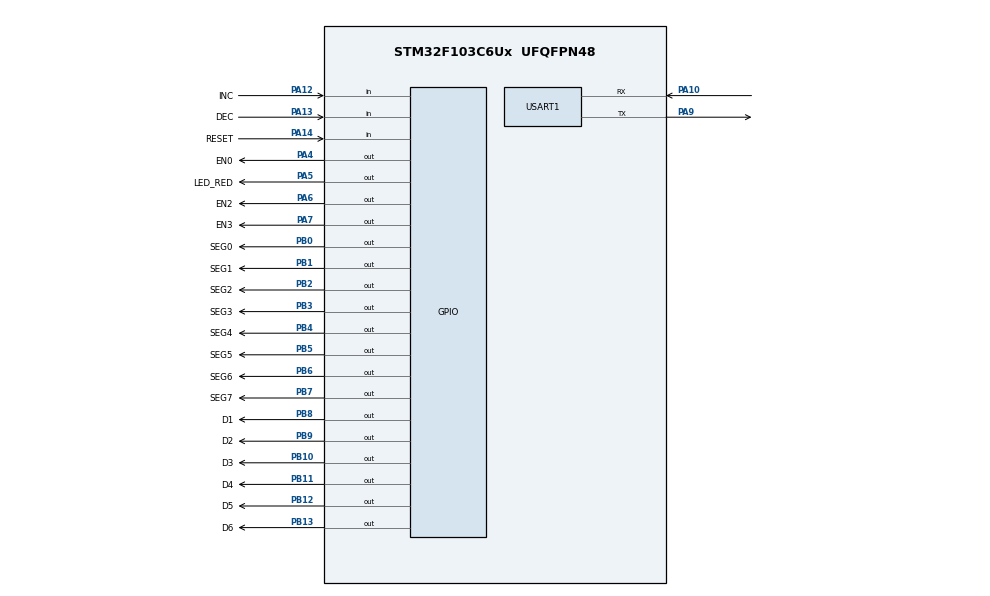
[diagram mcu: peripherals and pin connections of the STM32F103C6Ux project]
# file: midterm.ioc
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Mcu.Family=STM32F1
Mcu.Name=STM32F103C6Ux
Mcu.Package=UFQFPN48
NVIC.PriorityGroup=NVIC_PRIORITYGROUP_4
NVIC.TIM2_IRQn=true\:0\:0\:false\:false\:true\:true\:true
NVIC.USART1_IRQn=true\:0\:0\:false\:false\:true\:true\:true
PA10.Mode=Asynchronous
PA10.Signal=USART1_RX
PA12.GPIO_Label=INC
PA12.Signal=GPIO_Input
PA13.GPIO_Label=DEC
PA13.Signal=GPIO_Input
PA14.GPIO_Label=RESET
PA14.Signal=GPIO_Input
PA4.GPIO_Label=EN0
PA4.Signal=GPIO_Output
PA5.GPIO_Label=LED_RED
PA5.Signal=GPIO_Output
PA6.GPIO_Label=EN2
PA6.Signal=GPIO_Output
PA7.GPIO_Label=EN3
PA7.Signal=GPIO_Output
PA9.Mode=Asynchronous
PA9.Signal=USART1_TX
PB0.GPIO_Label=SEG0
PB0.Signal=GPIO_Output
PB1.GPIO_Label=SEG1
PB1.Signal=GPIO_Output
PB10.GPIO_Label=D3
PB10.Signal=GPIO_Output
PB11.GPIO_Label=D4
PB11.Signal=GPIO_Output
PB12.GPIO_Label=D5
PB12.Signal=GPIO_Output
PB13.GPIO_Label=D6
PB13.Signal=GPIO_Output
PB2.GPIO_Label=SEG2
PB2.Signal=GPIO_Output
PB3.GPIO_Label=SEG3
PB3.Signal=GPIO_Output
PB4.GPIO_Label=SEG4
PB4.Signal=GPIO_Output
PB5.GPIO_Label=SEG5
PB5.Signal=GPIO_Output
PB6.GPIO_Label=SEG6
PB6.Signal=GPIO_Output
PB7.GPIO_Label=SEG7
PB7.Signal=GPIO_Output
PB8.GPIO_Label=D1
PB8.Signal=GPIO_Output
PB9.GPIO_Label=D2
PB9.Signal=GPIO_Output
ProjectManager.HeapSize=0x200
ProjectManager.StackSize=0x400
ProjectManager.TargetToolchain=STM32CubeIDE
RCC.APB1Freq_Value=8000000
RCC.APB2Freq_Value=8000000
TIM2.Period=9
TIM2.Prescaler=7999
USART1.VirtualMode=VM_ASYNC
VP_SYS_VS_ND.Mode=No_Debug
VP_TIM2_VS_ClockSourceINT.Mode=Internal
board=custom

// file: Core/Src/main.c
/* USER CODE BEGIN Header */
/**
  ******************************************************************************
  * @file           : main.c
  * @brief          : Main program body
  ******************************************************************************
  * @attention
  *
  * <h2><center>&copy; Copyright (c) 2022 STMicroelectronics.
  * All rights reserved.</center></h2>
  *
  * This software component is licensed by ST under BSD 3-Clause license,
  * the "License"; You may not use this file except in compliance with the
  * License. You may obtain a copy of the License at:
  *                        opensource.org/licenses/BSD-3-Clause
  *
  ******************************************************************************
  */
/* USER CODE END Header */
#include "main.h"

/* USER CODE BEGIN Includes */
#include "input_processing.h"
#include "led7seg.h"
#include "global.h"
#include "stdio.h"
#include "software_timer.h"
#include "input_reading.h"
#include "output_display.h"
/* USER CODE END Includes */

TIM_HandleTypeDef htim2;

UART_HandleTypeDef huart1;

void SystemClock_Config(void);
static void MX_GPIO_Init(void);
static void MX_TIM2_Init(void);
static void MX_USART1_UART_Init(void);

int main(void)
{

  /* MCU Configuration--------------------------------------------------------*/

  /* Reset of all peripherals, Initializes the Flash interface and the Systick. */
  HAL_Init();

  /* Configure the system clock */
  SystemClock_Config();

  /* Initialize all configured peripherals */
  MX_GPIO_Init();
  MX_TIM2_Init();
  MX_USART1_UART_Init();
  /* USER CODE BEGIN 2 */
  HAL_TIM_Base_Start_IT (&htim2);
  setTimer1(10);
  setTimer2(20);
  setTimer3(30);
  /* USER CODE END 2 */

  /* Infinite loop */
  while (1)
  {

	/* USER CODE BEGIN 3 */
	if (timer3_flag == 1) {
		HAL_GPIO_TogglePin(GPIOA, LED_RED_Pin);
		setTimer3(DURATION_1S);
	}
	fsm_for_input_processing();

  }
  /* USER CODE END 3 */
}

void SystemClock_Config(void)
{
  RCC_OscInitTypeDef RCC_OscInitStruct = {0};
  RCC_ClkInitTypeDef RCC_ClkInitStruct = {0};

  /** Initializes the RCC Oscillators according to the specified parameters
  * in the RCC_OscInitTypeDef structure.
  */
  RCC_OscInitStruct.OscillatorType = RCC_OSCILLATORTYPE_HSI;
  RCC_OscInitStruct.HSIState = RCC_HSI_ON;
  RCC_OscInitStruct.HSICalibrationValue = RCC_HSICALIBRATION_DEFAULT;
  RCC_OscInitStruct.PLL.PLLState = RCC_PLL_NONE;
  if (HAL_RCC_OscConfig(&RCC_OscInitStruct) != HAL_OK)
  {
    Error_Handler();
  }
  /** Initializes the CPU, AHB and APB buses clocks
  */
  RCC_ClkInitStruct.ClockType = RCC_CLOCKTYPE_HCLK|RCC_CLOCKTYPE_SYSCLK
                              |RCC_CLOCKTYPE_PCLK1|RCC_CLOCKTYPE_PCLK2;
  RCC_ClkInitStruct.SYSCLKSource = RCC_SYSCLKSOURCE_HSI;
  RCC_ClkInitStruct.AHBCLKDivider = RCC_SYSCLK_DIV1;
  RCC_ClkInitStruct.APB1CLKDivider = RCC_HCLK_DIV1;
  RCC_ClkInitStruct.APB2CLKDivider = RCC_HCLK_DIV1;

  if (HAL_RCC_ClockConfig(&RCC_ClkInitStruct, FLASH_LATENCY_0) != HAL_OK)
  {
    Error_Handler();
  }
}

static void MX_TIM2_Init(void)
{

  TIM_ClockConfigTypeDef sClockSourceConfig = {0};
  TIM_MasterConfigTypeDef sMasterConfig = {0};

  htim2.Instance = TIM2;
  htim2.Init.Prescaler = 7999;
  htim2.Init.CounterMode = TIM_COUNTERMODE_UP;
  htim2.Init.Period = 9;
  htim2.Init.ClockDivision = TIM_CLOCKDIVISION_DIV1;
  htim2.Init.AutoReloadPreload = TIM_AUTORELOAD_PRELOAD_DISABLE;
  if (HAL_TIM_Base_Init(&htim2) != HAL_OK)
  {
    Error_Handler();
  }
  sClockSourceConfig.ClockSource = TIM_CLOCKSOURCE_INTERNAL;
  if (HAL_TIM_ConfigClockSource(&htim2, &sClockSourceConfig) != HAL_OK)
  {
    Error_Handler();
  }
  sMasterConfig.MasterOutputTrigger = TIM_TRGO_RESET;
  sMasterConfig.MasterSlaveMode = TIM_MASTERSLAVEMODE_DISABLE;
  if (HAL_TIMEx_MasterConfigSynchronization(&htim2, &sMasterConfig) != HAL_OK)
  {
    Error_Handler();
  }

}

static void MX_USART1_UART_Init(void)
{

  huart1.Instance = USART1;
  huart1.Init.BaudRate = 115200;
  huart1.Init.WordLength = UART_WORDLENGTH_8B;
  huart1.Init.StopBits = UART_STOPBITS_1;
  huart1.Init.Parity = UART_PARITY_NONE;
  huart1.Init.Mode = UART_MODE_TX_RX;
  huart1.Init.HwFlowCtl = UART_HWCONTROL_NONE;
  huart1.Init.OverSampling = UART_OVERSAMPLING_16;
  if (HAL_UART_Init(&huart1) != HAL_OK)
  {
    Error_Handler();
  }

}

static void MX_GPIO_Init(void)
{
  GPIO_InitTypeDef GPIO_InitStruct = {0};

  /* GPIO Ports Clock Enable */
  __HAL_RCC_GPIOA_CLK_ENABLE();
  __HAL_RCC_GPIOB_CLK_ENABLE();

  /*Configure GPIO pin Output Level */
  HAL_GPIO_WritePin(GPIOA, EN0_Pin|LED_RED_Pin|EN2_Pin|EN3_Pin, GPIO_PIN_RESET);

  /*Configure GPIO pin Output Level */
  HAL_GPIO_WritePin(GPIOB, SEG0_Pin|SEG1_Pin|SEG2_Pin|D3_Pin
                          |D4_Pin|D5_Pin|D6_Pin|SEG3_Pin
                          |SEG4_Pin|SEG5_Pin|SEG6_Pin|SEG7_Pin
                          |D1_Pin|D2_Pin, GPIO_PIN_RESET);

  /*Configure GPIO pins : EN0_Pin LED_RED_Pin EN2_Pin EN3_Pin */
  GPIO_InitStruct.Pin = EN0_Pin|LED_RED_Pin|EN2_Pin|EN3_Pin;
  GPIO_InitStruct.Mode = GPIO_MODE_OUTPUT_PP;
  GPIO_InitStruct.Pull = GPIO_NOPULL;
  GPIO_InitStruct.Speed = GPIO_SPEED_FREQ_LOW;
  HAL_GPIO_Init(GPIOA, &GPIO_InitStruct);

  /*Configure GPIO pins : SEG0_Pin SEG1_Pin SEG2_Pin D3_Pin
                           D4_Pin D5_Pin D6_Pin SEG3_Pin
                           SEG4_Pin SEG5_Pin SEG6_Pin SEG7_Pin
                           D1_Pin D2_Pin */
  GPIO_InitStruct.Pin = SEG0_Pin|SEG1_Pin|SEG2_Pin|D3_Pin
                          |D4_Pin|D5_Pin|D6_Pin|SEG3_Pin
                          |SEG4_Pin|SEG5_Pin|SEG6_Pin|SEG7_Pin
                          |D1_Pin|D2_Pin;
  GPIO_InitStruct.Mode = GPIO_MODE_OUTPUT_PP;
  GPIO_InitStruct.Pull = GPIO_NOPULL;
  GPIO_InitStruct.Speed = GPIO_SPEED_FREQ_LOW;
  HAL_GPIO_Init(GPIOB, &GPIO_InitStruct);

  /*Configure GPIO pins : INC_Pin DEC_Pin RESET_Pin */
  GPIO_InitStruct.Pin = INC_Pin|DEC_Pin|RESET_Pin;
  GPIO_InitStruct.Mode = GPIO_MODE_INPUT;
  GPIO_InitStruct.Pull = GPIO_NOPULL;
  HAL_GPIO_Init(GPIOA, &GPIO_InitStruct);

}

void Error_Handler(void)
{
  __disable_irq();
  while (1)
  {
  }
}

/************************ (C) COPYRIGHT STMicroelectronics *****END OF FILE****/
